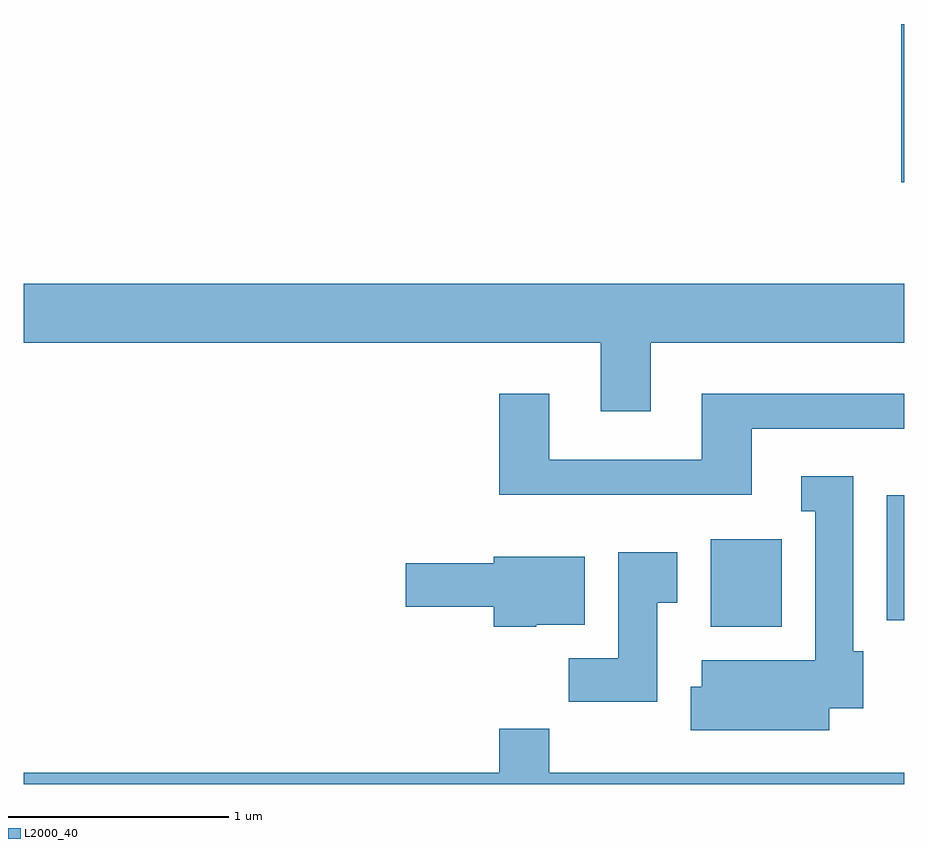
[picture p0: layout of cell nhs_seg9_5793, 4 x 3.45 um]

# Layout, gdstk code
import gdstk
lib = gdstk.Library(unit=1e-6, precision=1e-09)
def R(c, l, rs):  # rectangles x0, y0, x1, y1
    for r in rs: c.add(gdstk.rectangle(r[:2], r[2:], *l))
def P(c, l, *ps):  # polygons
    for p in ps: c.add(gdstk.Polygon(p, *l))
L2000_40 = (2000, 40)

nhs_seg9_5793 = lib.new_cell('nhs_seg9_5793')
R(nhs_seg9_5793, L2000_40, [(358.731,2037.146,359.054,2037.544), (359.531,2037.176,359.611,2037.744), (359.596,2039.166,359.611,2039.884)])
P(nhs_seg9_5793, L2000_40, [(358.459,2038.436),(359.611,2038.436),(359.611,2038.704),(355.611,2038.704),(355.611,2038.436),(358.231,2038.436),(358.231,2038.126),(358.459,2038.126)],
  [(358.919,2038.046),(359.611,2038.046),(359.611,2038.204),(358.691,2038.204),(358.691,2037.904),(357.999,2037.904),(357.999,2038.204),(357.771,2038.204),(357.771,2037.746),(358.919,2037.746)],
  [(359.269,2036.776),(359.424,2036.776),(359.424,2037.034),(359.379,2037.034),(359.379,2037.829),(359.143,2037.829),(359.143,2037.671),(359.206,2037.671),(359.206,2036.994),(358.691,2036.994),(358.691,2036.874),(358.641,2036.874),(358.641,2036.676),(359.269,2036.676)],
  [(358.489,2037.256),(358.579,2037.256),(358.579,2037.484),(358.311,2037.484),(358.311,2037.004),(358.086,2037.004),(358.086,2036.806),(358.489,2036.806)],
  [(357.94,2037.156),(358.159,2037.156),(358.159,2037.464),(357.746,2037.464),(357.746,2037.434),(357.346,2037.434),(357.346,2037.236),(357.746,2037.236),(357.746,2037.146),(357.94,2037.146)],
  [(359.611,2036.484),(357.999,2036.484),(357.999,2036.684),(357.771,2036.684),(357.771,2036.484),(355.611,2036.484),(355.611,2036.432),(359.611,2036.432)])

lib.write_gds('nhs_seg9_5793.gds')
